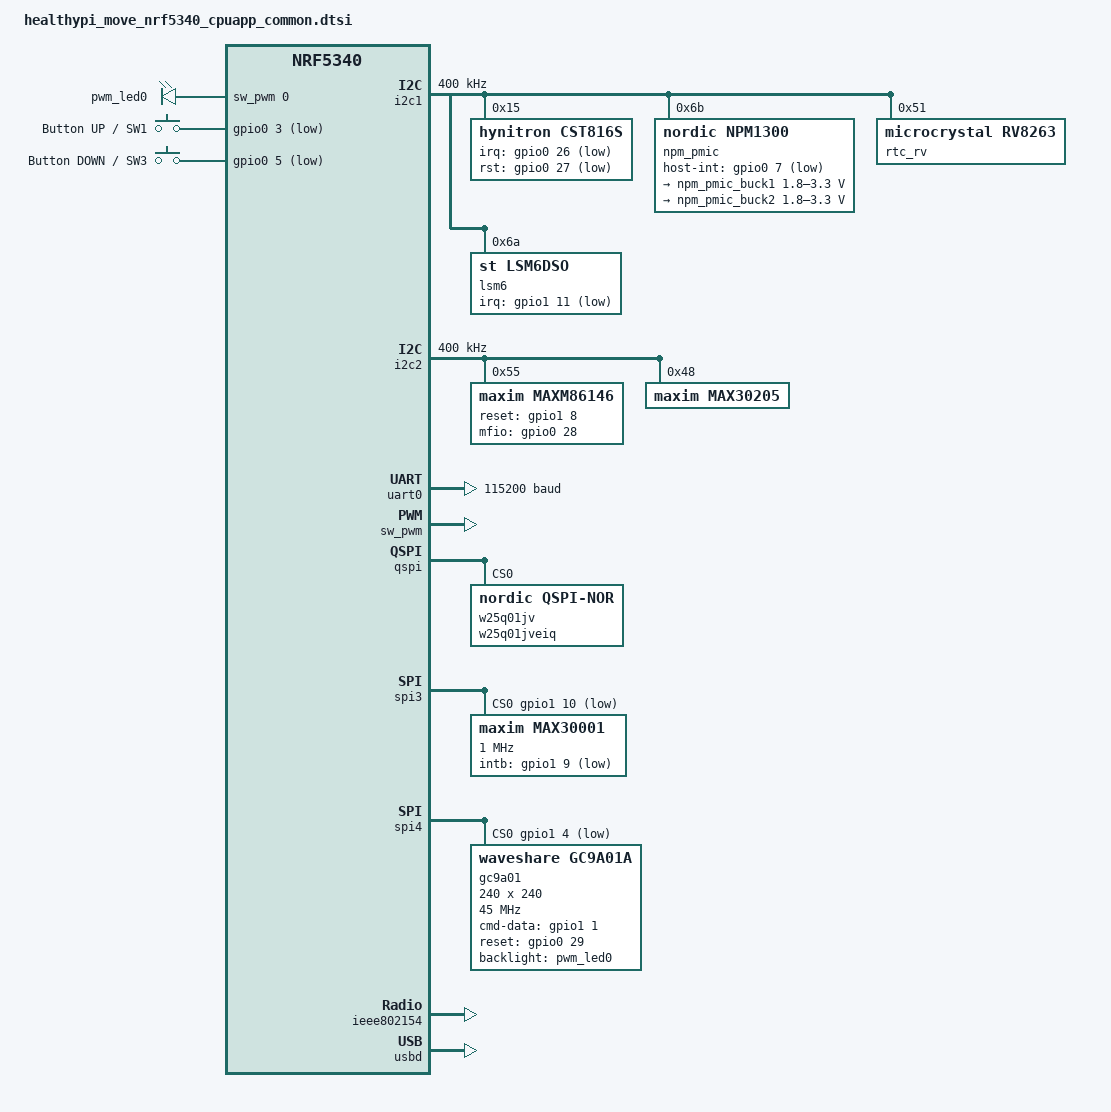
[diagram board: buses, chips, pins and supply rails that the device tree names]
/*
 * Copyright (c) 2019-2020 Nordic Semiconductor ASA
 *
 * SPDX-License-Identifier: Apache-2.0
 */
#include "healthypi_move_nrf5340_cpuapp_common-pinctrl.dtsi"
#include <zephyr/dt-bindings/input/input-event-codes.h>
#include <dt-bindings/regulator/npm1300.h>

/ {

	chosen {
		zephyr,console = &uart0;
		zephyr,shell-uart = &uart0;
		zephyr,uart-mcumgr = &uart0;
		zephyr,bt-mon-uart = &uart0;
		zephyr,bt-c2h-uart = &uart0;
		zephyr,bt-hci-ipc = &ipc0;
		nordic,802154-spinel-ipc = &ipc0;
		zephyr,ieee802154 = &ieee802154;
		zephyr,display = &gc9a01; //&st7789v;
		nordic,pm-ext-flash = &w25q01jv;
	};

	pwmleds {
		compatible = "pwm-leds";
		pwm_led0: pwm_led_0 {
			status = "okay";
			pwms = <&sw_pwm 0 PWM_MSEC(10) PWM_POLARITY_NORMAL>;
		};
	};


	gpiokeys: gpio_keys {
		compatible = "gpio-keys";
		button_up: sw1 {
			
			label = "Button UP / SW1";
			gpios = <&gpio0 3 (GPIO_PULL_UP | GPIO_ACTIVE_LOW) >;
			zephyr,code = <INPUT_KEY_UP>;
		};

		button_down: sw3 {
			
			label = "Button DOWN / SW3";
			gpios = <&gpio0 5 (GPIO_PULL_UP | GPIO_ACTIVE_LOW)>;
			zephyr,code = <INPUT_KEY_DOWN>;
		};
	};

	aliases {
		pwm-led0 = &pwm_led0;
		//mcuboot-button0 = &button_up;

		watchdog0 = &wdt0;
		esp-uart= &uart0;

		max30001 = &max30001;
		//max32664 = &max32664;
		maxm86146 = &maxm86146;

		rtc = &rtc_rv;
	};

};

/ {
	lvgl_pointer_input: lvgl_pointer {
		compatible = "zephyr,lvgl-pointer-input";
		input = <&cst816s>;
		invert-y;
		//swap-xy;
		invert-x;
	};
};

&adc {
	status = "disabled";
};

&gpiote {
	status = "okay";
};

&gpio0 {
	status = "okay";
};

&gpio1 {
	status = "okay";
};

&i2c1 {
	compatible = "nordic,nrf-twim";
	status = "okay";
	pinctrl-0 = <&i2c1_default>;
	pinctrl-1 = <&i2c1_sleep>;
	clock-frequency = <I2C_BITRATE_FAST>;
	pinctrl-names = "default", "sleep";

	cst816s: cst816s@15 {
		compatible = "hynitron,cst816s";
		reg = <0x15>;
		status = "okay";
		irq-gpios = <&gpio0 26 GPIO_ACTIVE_LOW>;
		rst-gpios = <&gpio0 27 GPIO_ACTIVE_LOW>;
	};

	npm_pmic: pmic@6b {
		compatible = "nordic,npm1300";
		host-int-gpios = <&gpio0 7 GPIO_ACTIVE_LOW>;
		pmic-int-pin = <2>;
		reg = <0x6b>;

		npm_pmic_gpio: gpio-controller {
			compatible = "nordic,npm1300-gpio";
			gpio-controller;
			#gpio-cells = <2>;
			ngpios = <5>;
		};

		npm_pmic_regulators: regulators {
			compatible = "nordic,npm1300-regulator";

			/* limits are set to min/max allowed values */
			npm_pmic_buck1: BUCK1 {
				regulator-min-microvolt = <1800000>;
				regulator-max-microvolt = <3300000>;
				regulator-init-microvolt = <3300000>;
			};

			npm_pmic_buck2: BUCK2 {
				regulator-min-microvolt = <1800000>;
				regulator-max-microvolt = <3300000>;
				regulator-init-microvolt = <3300000>;
				retention-microvolt = <2500000>;
				//regulator-boot-on;
				//enable-gpios = <&npm_pmic_gpio 1 GPIO_ACTIVE_LOW>;
				//retention-gpios = <&npm_pmic_gpio 2 GPIO_ACTIVE_HIGH>;
				//pwm-gpios = <&npm_pmic_gpio 2 GPIO_ACTIVE_LOW>;
			};

			npm_pmic_ldo1: LDO1 {
				regulator-initial-mode = <NPM1300_LDSW_MODE_LDSW>;
				//regulator-boot-on;
				//startup-delay-us = <100000>;
			};

			npm_pmic_ldo2: LDO2 {
				regulator-initial-mode = <NPM1300_LDSW_MODE_LDSW>;
			};
		};

		npm_pmic_charger: charger {
			compatible = "nordic,npm1300-charger";
			term-microvolt = <4150000>;
			term-warm-microvolt = <4000000>;
			current-microamp = <200000>;
			dischg-limit-microamp = <1000000>;
			vbus-limit-microamp = <500000>;
			thermistor-ohms = <10000>;
			thermistor-beta = <3380>;
			charging-enable;
		};

		npm_pmic_buttons: buttons {
			compatible = "gpio-keys";
			pmic_button0: pmic_button_0 {
				gpios = <&npm_pmic_gpio 0 GPIO_ACTIVE_LOW>;
				label = "Pmic button switch 0";
				zephyr,code = <INPUT_KEY_0>;
			};
		};

		npm_pmic_leds: leds {
			compatible = "nordic,npm1300-led";
			nordic,led0-mode = "error";
			nordic,led1-mode = "charging";
			nordic,led2-mode = "host";
		};
	};

	rtc_rv: rv@51 {
		compatible = "microcrystal,rv8263";
		reg = <0x51>;
	};

	lsm6: lsm6dso@6a {
		compatible = "st,lsm6dso";
		reg = <0x6a>;
		status = "okay";
		irq-gpios = <&gpio1 11 GPIO_ACTIVE_LOW>;
	};
};

&i2c2 {
	compatible = "nordic,nrf-twim";
	status = "okay";
	pinctrl-0 = <&i2c2_default>;
	pinctrl-1 = <&i2c2_sleep>;
	clock-frequency = <I2C_BITRATE_FAST>;
	pinctrl-names = "default", "sleep";
	zephyr,concat-buf-size = <16384>;
	zephyr,flash-buf-max-size = <16384>;

	maxm86146: maxm86146@55 {
		compatible = "maxim,maxm86146";
		reg = <0x55>;
		reset-gpios = <&gpio1 8 GPIO_ACTIVE_HIGH>;
		mfio-gpios = <&gpio0 28 GPIO_ACTIVE_HIGH>;
		status = "okay";
	};

	max30205: max30205@48 {
		compatible = "maxim,max30205";
		status = "okay";
		reg = <0x48>;
	};
};

&uart0 {
	status = "okay";
	current-speed = <115200>;
	pinctrl-0 = <&uart0_default>;
	pinctrl-1 = <&uart0_sleep>;
	pinctrl-names = "default", "sleep";
};


&pwm0 {
	status = "disabled";
	pinctrl-0 = <&pwm0_default>;
	pinctrl-1 = <&pwm0_sleep>;
	pinctrl-names = "default", "sleep";
};


&sw_pwm {
	status = "okay";
	channel-gpios = <&gpio1 5 PWM_POLARITY_INVERTED>;
};


&qspi {
	status = "okay";
	pinctrl-0 = <&qspi_default>;
	pinctrl-1 = <&qspi_sleep>;
	pinctrl-names = "default", "sleep";

	w25q01jv: w25q01jveiq@0 {
		compatible = "nordic,qspi-nor";
		reg = <0>;
		//writeoc = "pp2o";
		//readoc = "read2o";
		//quad-enable-requirements = "S2B1v5";
		sck-frequency = <128000000>;
		size = <DT_SIZE_M(128)>;
		has-dpd;
		t-enter-dpd = <3000>;
		t-exit-dpd = <30000>;
		jedec-id = [ ef 40 21  ];
		status = "okay";
	};
};


/*&uart1 {
	compatible = "nordic,nrf-uarte";
	current-speed = <115200>;
	pinctrl-0 = <&uart1_default>;
	pinctrl-1 = <&uart1_sleep>;
	pinctrl-names = "default", "sleep";
};
 */


&spi3 {
	compatible = "nordic,nrf-spim";
	status = "okay";

	pinctrl-0 = <&spi3_default>;
	pinctrl-1 = <&spi3_sleep>;
	pinctrl-names = "default", "sleep";
	cs-gpios = <&gpio1 10 GPIO_ACTIVE_LOW>;

	max30001: max30001@0 {
		compatible = "maxim,max30001";
		status = "okay";
		reg = <0x0>;
		spi-max-frequency = <DT_FREQ_M(1)>;
		intb-gpios = <&gpio1 9 GPIO_ACTIVE_LOW>;
		rtor-enabled;
		ecg-enabled;
		bioz-enabled;
		ecg-gain = <3>;
		ecg-invert;
		//ecg-dcloff-enable;
		//ecg-dcloff-current = <1>; // 5 nA

	};
};

&spi4 {
	compatible = "nordic,nrf-spim";
	status = "okay";
	cs-gpios = <&gpio1 4 GPIO_ACTIVE_LOW>;
	pinctrl-0 = <&spi4_default>;
	pinctrl-1 = <&spi4_sleep>;
	pinctrl-names = "default", "sleep";

	gc9a01: gc9a01@0 {
		compatible = "waveshare,gc9a01a";
		spi-max-frequency = <DT_FREQ_M(45)>;
		reg = <0>;
		cmd-data-gpios = <&gpio1 1 GPIO_ACTIVE_HIGH>;
		reset-gpios = <&gpio0 29 GPIO_ACTIVE_HIGH>;
		//bl-gpios = <&gpio1 5 GPIO_ACTIVE_HIGH>;//<&pwm_led0>;
		backlight-gpios = <&pwm_led0>;
		//backlight-gpios = <&gpio0 29 GPIO_ACTIVE_HIGH>;//<&pwm_led0>;
		width = <240>;
		height = <240>;
		pixel-format = <0>;//<GC9A01A_PIXEL_FORMAT_RGB565>;
		display-inversion;
		rotation = <0>;
		status = "okay";
	};
};

&flash0 {

	partitions {
		compatible = "fixed-partitions";
		#address-cells = <1>;
		#size-cells = <1>;

		boot_partition: partition@0 {
			label = "mcuboot";
			reg = <0x00000000 0x00010000>;
		};
		slot0_partition: partition@10000 {
			label = "image-0";
		};
		slot0_ns_partition: partition@50000 {
			label = "image-0-nonsecure";
		};
		slot1_partition: partition@80000 {
			label = "image-1";
		};
		slot1_ns_partition: partition@c0000 {
			label = "image-1-nonsecure";
		};
		/* 0xf0000 to 0xf7fff reserved for TF-M partitions */
		storage_partition: partition@f8000 {
			label = "storage";
			reg = <0x000f8000 DT_SIZE_K(20)>;
		};
	};
};

&ieee802154 {
	status = "okay";
};

zephyr_udc0: &usbd {
	compatible = "nordic,nrf-usbd";
	status = "okay";
	cdc_acm_uart0 {
		compatible = "zephyr,cdc-acm-uart";
	};
};

&zephyr_udc0 {
	cdc_acm_uart0: cdc_acm_uart0 {
		compatible = "zephyr,cdc-acm-uart";
	};
};

/ {

	reserved-memory {
		#address-cells = <1>;
		#size-cells = <1>;
		ranges;

		sram0_image: image@20000000 {
			/* Zephyr image(s) memory */
		};

		sram0_s: image_s@20000000 {
			/* Secure image memory */
		};

		sram0_ns: image_ns@20040000 {
			/* Non-Secure image memory */
		};
	};
};

/* Include partition configuration file */
#include "healthypi_move_nrf5340_cpuapp_partition_conf.dtsi"
